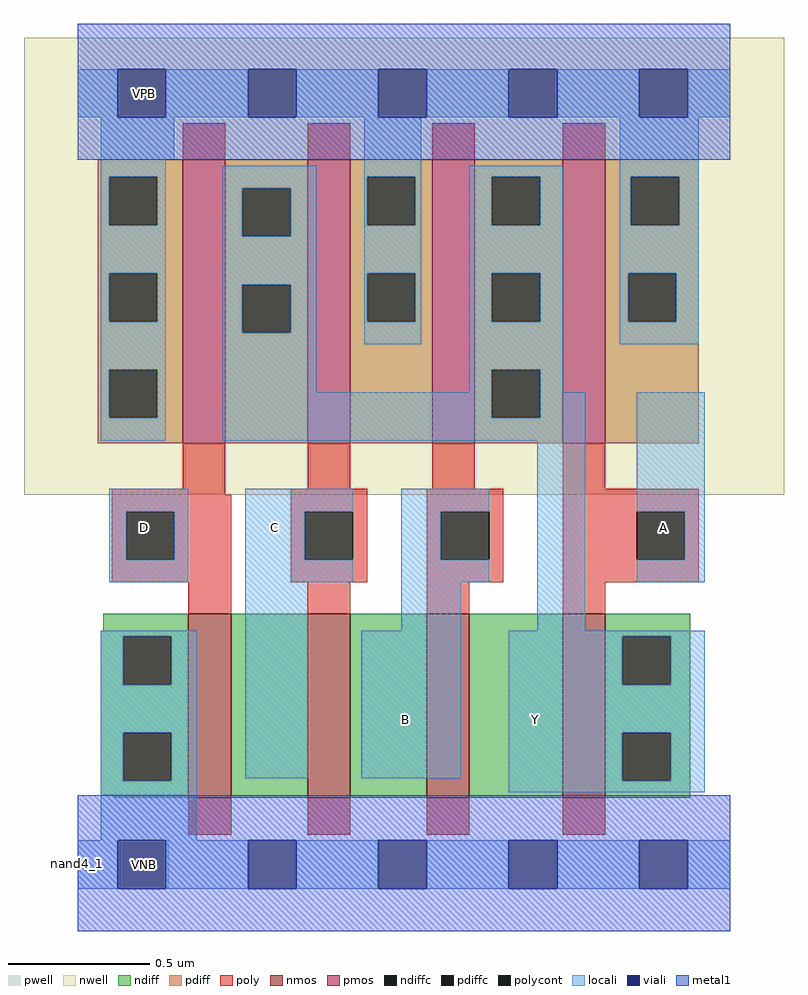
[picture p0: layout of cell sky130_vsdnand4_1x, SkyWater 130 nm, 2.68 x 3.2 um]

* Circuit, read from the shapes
.subckt sky130_vsdnand4_1x A B C D VGND VNB VPB VPWR Y
XM1 n1 D VGND VNB sky130_fd_pr__nfet_01v8 w=0.65 l=0.15
XM2 n2 C n1 VNB sky130_fd_pr__nfet_01v8 w=0.65 l=0.15
XM3 n3 B n2 VNB sky130_fd_pr__nfet_01v8 w=0.65 l=0.15
XM4 Y A n3 VNB sky130_fd_pr__nfet_01v8 w=0.65 l=0.15
XM5 Y D VPWR VPB sky130_fd_pr__pfet_01v8 w=1 l=0.15
XM6 VPWR C Y VPB sky130_fd_pr__pfet_01v8 w=1 l=0.15
XM7 Y B VPWR VPB sky130_fd_pr__pfet_01v8 w=1 l=0.15
XM8 VPWR A Y VPB sky130_fd_pr__pfet_01v8 w=1 l=0.15
.ends

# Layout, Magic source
magic
tech sky130A
<< nwell >>
rect -19 130 249 291
<< pwell >>
rect 15 -9 32 8
<< nmos >>
rect 39 23 54 88
rect 81 23 96 88
rect 123 23 138 88
rect 171 23 186 88
<< pmos >>
rect 37 148 52 248
rect 81 148 96 248
rect 125 148 140 248
rect 171 148 186 248
<< ndiff >>
rect 9 82 39 88
rect 8 80 39 82
rect 8 63 16 80
rect 33 63 39 80
rect 8 46 39 63
rect 8 29 16 46
rect 33 29 39 46
rect 8 24 39 29
rect 13 23 39 24
rect 54 23 81 88
rect 96 23 123 88
rect 138 23 171 88
rect 186 80 216 88
rect 186 63 192 80
rect 209 63 216 80
rect 186 46 216 63
rect 186 29 192 46
rect 209 29 216 46
rect 186 23 216 29
<< pdiff >>
rect 7 242 37 248
rect 7 225 11 242
rect 28 225 37 242
rect 7 208 37 225
rect 7 191 11 208
rect 28 191 37 208
rect 7 174 37 191
rect 7 157 11 174
rect 28 157 37 174
rect 7 148 37 157
rect 52 238 81 248
rect 52 221 58 238
rect 75 221 81 238
rect 52 204 81 221
rect 52 187 58 204
rect 75 187 81 204
rect 52 148 81 187
rect 96 242 125 248
rect 96 225 102 242
rect 119 225 125 242
rect 96 208 125 225
rect 96 191 102 208
rect 119 191 125 208
rect 96 148 125 191
rect 140 242 171 248
rect 140 225 146 242
rect 163 225 171 242
rect 140 208 171 225
rect 140 191 146 208
rect 163 191 171 208
rect 140 174 171 191
rect 140 157 146 174
rect 163 157 171 174
rect 140 148 171 157
rect 186 242 219 248
rect 186 225 195 242
rect 212 225 219 242
rect 186 208 219 225
rect 186 191 194 208
rect 211 191 219 208
rect 186 148 219 191
<< ndiffc >>
rect 16 63 33 80
rect 16 29 33 46
rect 192 63 209 80
rect 192 29 209 46
<< pdiffc >>
rect 11 225 28 242
rect 11 191 28 208
rect 11 157 28 174
rect 58 221 75 238
rect 58 187 75 204
rect 102 225 119 242
rect 102 191 119 208
rect 146 225 163 242
rect 146 191 163 208
rect 146 157 163 174
rect 195 225 212 242
rect 194 191 211 208
<< poly >>
rect 37 248 52 261
rect 81 248 96 261
rect 125 248 140 261
rect 171 248 186 261
rect 37 132 52 148
rect 81 132 96 148
rect 125 132 140 148
rect 171 132 186 148
rect 12 130 52 132
rect 12 124 54 130
rect 12 107 17 124
rect 34 107 54 124
rect 12 99 54 107
rect 75 124 102 132
rect 75 107 80 124
rect 97 107 102 124
rect 75 99 102 107
rect 123 124 150 132
rect 123 107 128 124
rect 145 107 150 124
rect 123 99 150 107
rect 171 124 219 132
rect 171 107 197 124
rect 214 107 219 124
rect 171 99 219 107
rect 39 88 54 99
rect 81 88 96 99
rect 123 88 138 99
rect 171 88 186 99
rect 39 10 54 23
rect 81 10 96 23
rect 123 10 138 23
rect 171 10 186 23
<< polycont >>
rect 17 107 34 124
rect 80 107 97 124
rect 128 107 145 124
rect 197 107 214 124
<< locali >>
rect 0 263 14 280
rect 31 263 60 280
rect 77 263 106 280
rect 123 263 152 280
rect 169 263 198 280
rect 215 263 230 280
rect 8 248 34 263
rect 8 242 31 248
rect 8 225 11 242
rect 28 225 31 242
rect 8 208 31 225
rect 8 191 11 208
rect 28 191 31 208
rect 8 174 31 191
rect 8 157 11 174
rect 28 157 31 174
rect 8 149 31 157
rect 51 238 84 246
rect 51 221 58 238
rect 75 221 84 238
rect 51 204 84 221
rect 51 187 58 204
rect 75 187 84 204
rect 51 166 84 187
rect 101 242 121 263
rect 101 225 102 242
rect 119 225 121 242
rect 101 208 121 225
rect 101 191 102 208
rect 119 191 121 208
rect 101 183 121 191
rect 138 242 171 246
rect 138 225 146 242
rect 163 225 171 242
rect 138 208 171 225
rect 138 191 146 208
rect 163 191 171 208
rect 138 174 171 191
rect 191 242 219 263
rect 191 225 195 242
rect 212 225 219 242
rect 191 208 219 225
rect 191 191 194 208
rect 211 191 219 208
rect 191 183 219 191
rect 138 166 146 174
rect 51 157 146 166
rect 163 166 171 174
rect 163 157 179 166
rect 51 149 179 157
rect 11 124 39 132
rect 11 107 17 124
rect 34 107 39 124
rect 11 99 39 107
rect 59 124 97 132
rect 59 107 80 124
rect 59 99 97 107
rect 114 124 145 132
rect 114 107 128 124
rect 114 99 145 107
rect 8 80 42 82
rect 8 63 16 80
rect 33 63 42 80
rect 8 46 42 63
rect 8 29 16 46
rect 33 29 42 46
rect 59 30 81 99
rect 114 82 135 99
rect 162 82 179 149
rect 197 124 221 166
rect 214 107 221 124
rect 197 99 221 107
rect 100 30 135 82
rect 152 80 221 82
rect 152 63 192 80
rect 209 63 221 80
rect 152 46 221 63
rect 8 8 42 29
rect 152 29 192 46
rect 209 29 221 46
rect 152 25 221 29
rect 0 -9 14 8
rect 31 -9 60 8
rect 77 -9 106 8
rect 123 -9 152 8
rect 169 -9 198 8
rect 215 -9 230 8
<< viali >>
rect 14 263 31 280
rect 60 263 77 280
rect 106 263 123 280
rect 152 263 169 280
rect 198 263 215 280
rect 14 -9 31 8
rect 60 -9 77 8
rect 106 -9 123 8
rect 152 -9 169 8
rect 198 -9 215 8
<< metal1 >>
rect 0 280 230 296
rect 0 263 14 280
rect 31 263 60 280
rect 77 263 106 280
rect 123 263 152 280
rect 169 263 198 280
rect 215 263 230 280
rect 0 248 230 263
rect 0 8 230 24
rect 0 -9 14 8
rect 31 -9 60 8
rect 77 -9 106 8
rect 123 -9 152 8
rect 169 -9 198 8
rect 215 -9 230 8
rect 0 -24 230 -9
<< labels >>
flabel locali s 61 110 78 127 0 FreeSans 125 0 0 0 C
port 3 nsew signal input
flabel locali s 107 42 124 59 0 FreeSans 125 0 0 0 B
port 2 nsew signal input
flabel locali s 153 42 170 59 0 FreeSans 125 0 0 0 Y
port 9 nsew signal output
flabel locali s 15 110 32 127 0 FreeSans 125 0 0 0 D
port 4 nsew signal input
flabel locali s 198 110 215 127 0 FreeSans 125 0 0 0 A
port 1 nsew signal input
flabel nwell s 15 263 32 280 0 FreeSans 100 0 0 0 VPB
port 7 nsew power bidirectional
flabel pwell s 15 -9 32 8 0 FreeSans 100 0 0 0 VNB
port 6 nsew ground bidirectional
flabel metal1 s 15 263 32 280 0 FreeSans 100 0 0 0 VPWR
port 8 nsew power bidirectional abutment
flabel metal1 s 15 -9 32 8 0 FreeSans 100 0 0 0 VGND
port 5 nsew ground bidirectional abutment
rlabel comment s 0 0 0 0 4 nand4_1
<< properties >>
string LEFclass CORE
string LEFsite unithd
string FIXED_BBOX 0 0 230 272
string LEFsymmetry X Y R90
string path 0.000 0.000 11.500 0.000 
<< end >>
